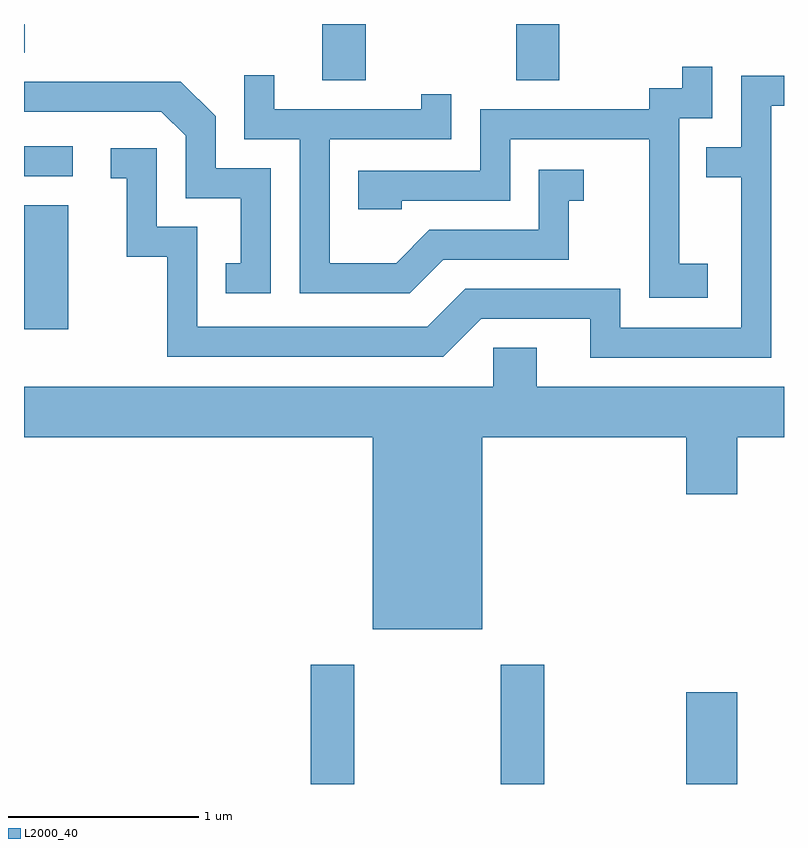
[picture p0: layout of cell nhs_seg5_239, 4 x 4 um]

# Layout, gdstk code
import gdstk
lib = gdstk.Library(unit=1e-6, precision=1e-09)
def R(c, l, rs):  # rectangles x0, y0, x1, y1
    for r in rs: c.add(gdstk.rectangle(r[:2], r[2:], *l))
def P(c, l, *ps):  # polygons
    for p in ps: c.add(gdstk.Polygon(p, *l))
L2000_40 = (2000, 40)

nhs_seg5_239 = lib.new_cell('nhs_seg5_239')
R(nhs_seg5_239, L2000_40, [(193.121,1466.072,193.349,1466.699), (194.121,1466.072,194.349,1466.699), (195.096,1466.072,195.364,1466.554), (191.611,1468.466,191.844,1469.119), (191.611,1469.271,191.868,1469.429), (193.181,1469.776,193.409,1470.072), (194.201,1469.776,194.429,1470.072), (191.611,1469.921,191.614,1470.072)])
P(nhs_seg5_239, L2000_40, [(195.209,1468.809),(195.059,1468.809),(195.059,1469.576),(195.234,1469.576),(195.234,1469.848),(195.076,1469.848),(195.076,1469.734),(194.901,1469.734),(194.901,1469.624),(194.011,1469.624),(194.011,1469.299),(193.371,1469.299),(193.371,1469.096),(193.599,1469.096),(193.599,1469.141),(194.169,1469.141),(194.169,1469.466),(194.901,1469.466),(194.901,1468.631),(195.209,1468.631)],
  [(193.817,1468.831),(194.479,1468.831),(194.479,1469.141),(194.558,1469.141),(194.558,1469.304),(194.321,1469.304),(194.321,1468.989),(193.744,1468.989),(193.569,1468.814),(193.219,1468.814),(193.219,1469.466),(193.859,1469.466),(193.859,1469.703),(193.701,1469.703),(193.701,1469.624),(192.929,1469.624),(192.929,1469.803),(192.771,1469.803),(192.771,1469.466),(193.061,1469.466),(193.061,1468.656),(193.642,1468.656)],
  [(195.544,1469.641),(195.611,1469.641),(195.611,1469.799),(195.386,1469.799),(195.386,1469.424),(195.203,1469.424),(195.203,1469.266),(195.386,1469.266),(195.386,1468.474),(194.749,1468.474),(194.749,1468.679),(193.934,1468.679),(193.734,1468.479),(192.524,1468.479),(192.524,1469.004),(192.309,1469.004),(192.309,1469.419),(192.068,1469.419),(192.068,1469.261),(192.151,1469.261),(192.151,1468.846),(192.366,1468.846),(192.366,1468.321),(193.817,1468.321),(194.017,1468.521),(194.591,1468.521),(194.591,1468.316),(195.544,1468.316)],
  [(192.909,1469.314),(192.619,1469.314),(192.619,1469.587),(192.437,1469.769),(191.611,1469.769),(191.611,1469.611),(192.334,1469.611),(192.461,1469.484),(192.461,1469.156),(192.751,1469.156),(192.751,1468.814),(192.673,1468.814),(192.673,1468.656),(192.909,1468.656)],
  [(194.024,1467.896),(195.096,1467.896),(195.096,1467.596),(195.364,1467.596),(195.364,1467.896),(195.611,1467.896),(195.611,1468.164),(194.309,1468.164),(194.309,1468.369),(194.081,1468.369),(194.081,1468.164),(191.611,1468.164),(191.611,1467.896),(193.446,1467.896),(193.446,1466.886),(194.024,1466.886)])

lib.write_gds('nhs_seg5_239.gds')
